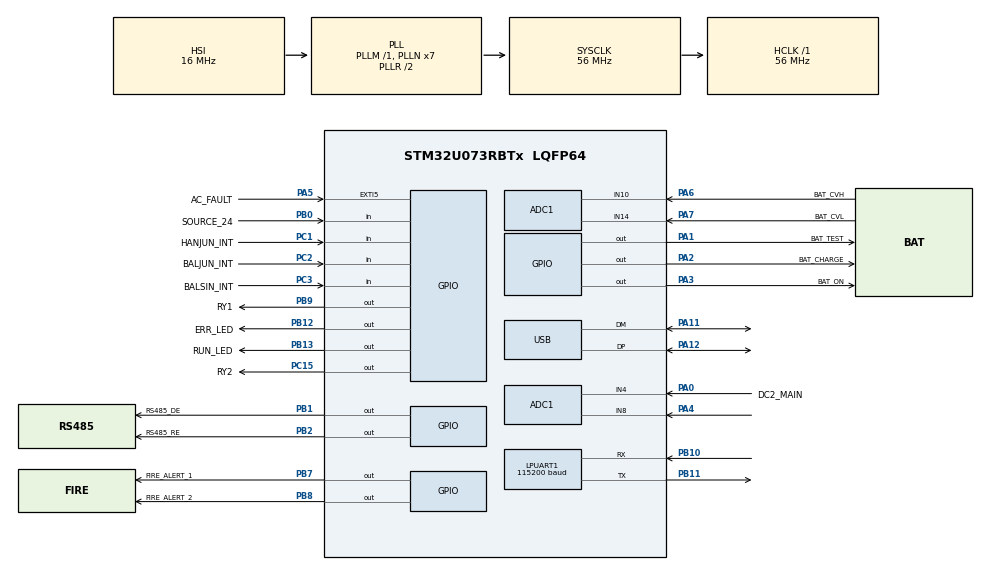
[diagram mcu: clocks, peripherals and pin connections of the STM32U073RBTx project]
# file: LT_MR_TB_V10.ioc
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ADC1.Channel-0\#ChannelRegularConversion=ADC_CHANNEL_4
ADC1.ClockPrescaler=ADC_CLOCK_SYNC_PCLK_DIV4
ADC1.NbrOfConversionFlag=1
ADC1.Rank-0\#ChannelRegularConversion=1
ADC1.RankArg-0\#ChannelRegularConversion=ADC_REGULAR_RANK_1
ADC1.SamplingTime-0\#ChannelRegularConversion=ADC_SAMPLINGTIME_COMMON_1
ADC1.SamplingTimeCommon1=ADC_SAMPLETIME_12CYCLES_5
ADC1.SamplingTimeCommon2=ADC_SAMPLETIME_12CYCLES_5
ADC1.SelectedChannel=ADC_CHANNEL_4|ADC_CHANNEL_8|ADC_CHANNEL_10|ADC_CHANNEL_14
ADC1.master=1
Dma.LPUART1_TX.0.Direction=DMA_MEMORY_TO_PERIPH
Dma.LPUART1_TX.0.EventEnable=DISABLE
Dma.LPUART1_TX.0.Instance=DMA1_Channel2
Dma.LPUART1_TX.0.MemDataAlignment=DMA_MDATAALIGN_BYTE
Dma.LPUART1_TX.0.MemInc=DMA_MINC_ENABLE
Dma.LPUART1_TX.0.Mode=DMA_NORMAL
Dma.LPUART1_TX.0.PeriphDataAlignment=DMA_PDATAALIGN_BYTE
Dma.LPUART1_TX.0.PeriphInc=DMA_PINC_DISABLE
Dma.LPUART1_TX.0.Polarity=HAL_DMAMUX_REQ_GEN_RISING
Dma.LPUART1_TX.0.Priority=DMA_PRIORITY_LOW
Dma.LPUART1_TX.0.RequestNumber=1
Dma.LPUART1_TX.0.SignalID=NONE
Dma.LPUART1_TX.0.SyncEnable=DISABLE
Dma.LPUART1_TX.0.SyncPolarity=HAL_DMAMUX_SYNC_NO_EVENT
Dma.LPUART1_TX.0.SyncRequestNumber=1
Dma.LPUART1_TX.0.SyncSignalID=NONE
Dma.Request0=LPUART1_TX
IWDG.Prescaler=IWDG_PRESCALER_16
LPUART1.BaudRate=115200
Mcu.Family=STM32U0
Mcu.Name=STM32U073RBTx
Mcu.Package=LQFP64
NVIC.DMA1_Channel2_3_IRQn=true\:0\:0\:false\:false\:true\:false\:true\:true
NVIC.EXTI4_15_IRQn=true\:0\:0\:false\:false\:true\:true\:true\:true
NVIC.PriorityGroup=NVIC_PRIORITYGROUP_2
NVIC.TIM1_CC_IRQn=true\:0\:0\:false\:false\:true\:true\:true\:true
NVIC.TIM2_IRQn=true\:0\:0\:false\:false\:true\:true\:true\:true
NVIC.TIM3_IRQn=true\:0\:0\:false\:false\:true\:true\:true\:true
NVIC.USART3_LPUART1_IRQn=true\:0\:0\:false\:false\:true\:true\:true\:true
PA0.GPIO_Label=DC2_MAIN
PA0.Mode=IN4
PA0.Signal=ADC1_IN4
PA1.GPIO_Label=BAT_TEST
PA1.Signal=GPIO_Output
PA11\ [PA9].Mode=Device
PA11\ [PA9].Signal=USB_DM
PA12\ [PA10].Mode=Device
PA12\ [PA10].Signal=USB_DP
PA13\ (SWDIO).Mode=Serial_Wire
PA13\ (SWDIO).Signal=DEBUG_JTMS-SWDIO
PA14\ (SWCLK).Mode=Serial_Wire
PA14\ (SWCLK).Signal=DEBUG_JTCK-SWCLK
PA2.GPIO_Label=BAT_CHARGE
PA2.Signal=GPIO_Output
PA3.GPIO_Label=BAT_ON
PA3.GPIO_PuPd=GPIO_PULLDOWN
PA3.Signal=GPIO_Output
PA4.Mode=IN8
PA4.Signal=ADC1_IN8
PA5.GPIO_Label=AC_FAULT
PA5.GPIO_PuPd=GPIO_PULLUP
PA5.Signal=GPXTI5
PA6.GPIO_Label=BAT_CVH
PA6.Mode=IN10
PA6.Signal=ADC1_IN10
PA7.GPIO_Label=BAT_CVL
PA7.Mode=IN14
PA7.Signal=ADC1_IN14
PB0.GPIO_Label=SOURCE_24
PB0.GPIO_PuPd=GPIO_PULLDOWN
PB0.Signal=GPIO_Input
PB1.GPIO_Label=RS485_DE
PB1.Signal=GPIO_Output
PB10.Mode=Asynchronous
PB10.Signal=LPUART1_RX
PB11.Mode=Asynchronous
PB11.Signal=LPUART1_TX
PB12.GPIO_Label=ERR_LED
PB12.Signal=GPIO_Output
PB13.GPIO_Label=RUN_LED
PB13.Signal=GPIO_Output
PB2.GPIO_Label=RS485_RE
PB2.Signal=GPIO_Output
PB3.Signal=DEBUG_JTDO-SWO
PB7.GPIO_Label=FIRE_ALERT_1
PB7.Signal=GPIO_Output
PB8.GPIO_Label=FIRE_ALERT_2
PB8.Signal=GPIO_Output
PB9.GPIO_Label=RY1
PB9.Signal=GPIO_Output
PC1.GPIO_Label=HANJUN_INT
PC1.Signal=GPIO_Input
PC15-OSC32_OUT.GPIO_Label=RY2
PC15-OSC32_OUT.Signal=GPIO_Output
PC2.GPIO_Label=BALJUN_INT
PC2.Signal=GPIO_Input
PC3.GPIO_Label=BALSIN_INT
PC3.Signal=GPIO_Input
ProjectManager.HeapSize=0x200
ProjectManager.StackSize=0x400
ProjectManager.TargetToolchain=STM32CubeIDE
RCC.ADCFreq_Value=56000000
RCC.AHBFreq_Value=56000000
RCC.CortexFreq_Value=56000000
RCC.HCLKFreq_Value=56000000
RCC.HSE_VALUE=4000000
RCC.HSI48_VALUE=48000000
RCC.HSI_VALUE=16000000
RCC.LSE_VALUE=32768
RCC.MSI_VALUE=4000000
RCC.PLLN=7
RCC.SYSCLKFreq_VALUE=56000000
RCC.SYSCLKSource=RCC_SYSCLKSOURCE_PLLCLK
RCC.USBCLockSelection=RCC_USBCLKSOURCE_HSI48
RCC.USBFreq_Value=48000000
RCC.VCOOutputFreq_Value=112000000
TIM1.Channel-Output\ Compare1\ No\ Output=TIM_CHANNEL_1
TIM1.Period=9999
TIM1.Prescaler=5599
TIM2.Channel-Output\ Compare1\ No\ Output=TIM_CHANNEL_1
TIM2.Period=999
TIM2.Prescaler=5599
TIM3.Channel-Output\ Compare1\ No\ Output=TIM_CHANNEL_1
TIM3.Period=9999
TIM3.Prescaler=5599
USB.VirtualMode=Device_Only
VP_IWDG_VS_IWDG.Mode=IWDG_Activate
VP_PWR_VS_SECSignals.Mode=Security/Privilege
VP_TIM1_VS_ClockSourceINT.Mode=Internal
VP_TIM1_VS_no_output1.Mode=Output Compare1 No Output
VP_TIM2_VS_ClockSourceINT.Mode=Internal
VP_TIM2_VS_no_output1.Mode=Output Compare1 No Output
VP_TIM3_VS_ClockSourceINT.Mode=Internal
VP_TIM3_VS_no_output1.Mode=Output Compare1 No Output
board=custom

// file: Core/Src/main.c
/* USER CODE BEGIN Header */
/**
  ******************************************************************************
  * @file           : main.c
  * @brief          : Main program body
  ******************************************************************************
  * @attention
  *
  * Copyright (c) 2025 STMicroelectronics.
  * All rights reserved.
  *
  * This software is licensed under terms that can be found in the LICENSE file
  * in the root directory of this software component.
  * If no LICENSE file comes with this software, it is provided AS-IS.
  *
  ******************************************************************************
  */
/* USER CODE END Header */
#include "main.h"

/* USER CODE BEGIN Includes */

#include "DO24_Code.h"
#include "Compile_Data.h"
/* USER CODE END Includes */

ADC_HandleTypeDef hadc1;

IWDG_HandleTypeDef hiwdg;

UART_HandleTypeDef hlpuart1;
DMA_HandleTypeDef hdma_lpuart1_tx;

TIM_HandleTypeDef htim1;
TIM_HandleTypeDef htim2;
TIM_HandleTypeDef htim3;

PCD_HandleTypeDef hpcd_USB_DRD_FS;

/* USER CODE BEGIN PV */

uint8_t SUB_UART_TX_buf[SUB_UART_buf_len] ;
uint8_t SUB_UART_RX_buf[SUB_UART_buf_len];
uint8_t SUB_UART_Tx_buf_tmp[SUB_UART_buf_len];
uint8_t SUB_UART_RX_buf_tmp[SUB_UART_buf_len];
uint8_t SUB_UART_State ;					// Define reception start state
int SUB_UART_buf_count;					// Save the length of received data after starting reception
int SUB_UART_buf_count_tmp;				// Variable to store the length of the received data before initializing it when reception is completed
uint8_t SUB_UART_Receive_complete;		// Variable indicating that reception has been completed
int SUB_UART_buf_count_Save;

uint32_t AC_FAULT_CNT ;
float MAIN_ADC, SOURCE_24_ADC, BAT_CVH_ADC, BAT_CVL_ADC;

int Bat_Charge_Mode;
int Bat_Charge_Compensation_Volt;
int Immobility_Chargr_Table[2]; //1:On 0: Off
int Compensation_Chargr_Table[5][2]; //1:On 0: Off
int BAT_ADC , Bat_Currunt, Bat_Charge_Currunt, Bat_Charge_Val, Charge_Stat = 0,Charge_Cnt;
int Pow_Mode , BAT_State, Pre_Pow_Mode, Test_status;
int Source_24;
uint8_t Bat_Test_Status;

int Balsin_signal;
int HANJUN_sig;
int BALJUN_sig;

int Balsin_Avr;
int HANJUN_Avr;
int BALJUN_Avr;

int Balsin_Save[Save_Max_Num];
int HANJUN_Save[Save_Max_Num];
int BALJUN_Save[Save_Max_Num];

/* USER CODE END PV */

void SystemClock_Config(void);
static void MX_GPIO_Init(void);
static void MX_DMA_Init(void);
static void MX_ADC1_Init(void);
static void MX_TIM2_Init(void);
static void MX_TIM3_Init(void);
static void MX_LPUART1_UART_Init(void);
static void MX_USB_PCD_Init(void);
static void MX_TIM1_Init(void);
static void MX_IWDG_Init(void);

/* USER CODE BEGIN 0 */

///////////////Start timer interrupt operation function///////////////////

void HAL_TIM_OC_DelayElapsedCallback(TIM_HandleTypeDef *htim)
{
  if(htim->Instance == TIM1)
  {
    HAL_GPIO_TogglePin(RUN_LED_GPIO_Port, RUN_LED_Pin);
    //HAL_GPIO_TogglePin(BAT_ON_GPIO_Port, BAT_ON_Pin);
    HAL_IWDG_Refresh(&hiwdg);

  }
  else if(htim->Instance == TIM2)
    {
	  //Source_24 = SMPS_AC_Source();
	  //Read_24_ADC();
	  if(SOURCE_24_ADC > 200000){
		  Source_24 = 1;
	  }
	  else{
		  Source_24 = 0;
	  }
	  if(Source_24 == 1){
		  Pow_Mode = AC_Mode;
		  HAL_GPIO_WritePin(BAT_ON_GPIO_Port, BAT_ON_Pin, GPIO_PIN_RESET);
	  }
	  else{
		  Pow_Mode = BAT_Mode;
		  HAL_GPIO_WritePin(BAT_ON_GPIO_Port, BAT_ON_Pin, GPIO_PIN_SET);
	  }

    }
  else if(htim->Instance == TIM3)
  {

  }

}
////////////////Timer interrupt operation function ends ///////////////////

/* USER CODE END 0 */

int main(void)
{

  /* MCU Configuration--------------------------------------------------------*/

  /* Reset of all peripherals, Initializes the Flash interface and the Systick. */
  HAL_Init();

  /* Configure the system clock */
  SystemClock_Config();

  /* Initialize all configured peripherals */
  MX_GPIO_Init();
  MX_DMA_Init();
  MX_ADC1_Init();
  MX_TIM2_Init();
  MX_TIM3_Init();
  MX_LPUART1_UART_Init();
  MX_USB_PCD_Init();
  MX_TIM1_Init();
  MX_IWDG_Init();
  /* USER CODE BEGIN 2 */

  // Timer1: 1 second cycle
  // Timer2: 0.1 second cycle
  // Timer3: 1 second cycle
  HAL_TIM_OC_Start_IT(&htim1,TIM_CHANNEL_1);
  HAL_TIM_OC_Start_IT(&htim2,TIM_CHANNEL_1);
  HAL_TIM_OC_Start_IT(&htim3,TIM_CHANNEL_1);

  LED_Control(ERR_LED_GPIO_Port, ERR_LED_Pin , LED_Off);

  Compile_Date();

  Pow_Mode = AC_Mode;
  BAT_State = BAT_OK;

  Immobility_Chargr_Table[0] = 6; //1:On 0: Off
  Immobility_Chargr_Table[1] = Immobility_Chargr_Table[0] + 38; //1:On 0: Off

  //25.5V
  Compensation_Chargr_Table[0][0] =  6; //1:On 0: Off
  Compensation_Chargr_Table[0][1] = 26. + Compensation_Chargr_Table[0][0]; //1:On 0: Off
  //26V
  Compensation_Chargr_Table[1][0] =  6; //1:On 0: Off
  Compensation_Chargr_Table[1][1] = 38 + Compensation_Chargr_Table[1][0]; //1:On 0: Off
  //26.5V
  Compensation_Chargr_Table[2][0] =  6; //1:On 0: Off
  Compensation_Chargr_Table[2][1] = 56 + Compensation_Chargr_Table[2][0]; //1:On 0: Off
  //27V
  Compensation_Chargr_Table[3][0] =  6; //1:On 0: Off
  Compensation_Chargr_Table[3][1] = 83 + Compensation_Chargr_Table[3][0]; //1:On 0: Off
  //27.5V
  Compensation_Chargr_Table[4][0] =  6; //1:On 0: Off
  Compensation_Chargr_Table[4][1]= 100 + Compensation_Chargr_Table[4][0] ; //1:On 0: Off

  Bat_Charge_Mode = Immobility_Mode;
  Bat_Test_Status = 0;

  Init_Do24();
  Compile_Date();

  /* huart1 RX Interrupt  Enable */
  /* Process Unlocked */
  __HAL_UNLOCK(&hlpuart1);
  /* Enable the UART Parity Error Interrupt */
  __HAL_UART_ENABLE_IT(&hlpuart1, UART_IT_PE);
  /* Enable the UART Error Interrupt: (Frame error, noise error, overrun error) */
  __HAL_UART_ENABLE_IT(&hlpuart1, UART_IT_ERR);
  /* Enable the UART Data Register not empty Interrupt */
  __HAL_UART_ENABLE_IT(&hlpuart1, UART_IT_RXNE);

  /* USER CODE END 2 */

  /* Infinite loop */
  while (1)
  {

    /* USER CODE BEGIN 3 */

	  /* Enable the UART Error Interrupt: (Frame error, noise error, overrun error) */
	  __HAL_UART_ENABLE_IT(&hlpuart1, UART_IT_ERR);
	  /* Enable the UART Data Register not empty Interrupt */
	  __HAL_UART_ENABLE_IT(&hlpuart1, UART_IT_RXNE);

	  Pre_Pow_Mode = Pow_Mode;

	  /*
	  if(Pow_Mode == AC_Mode){
		  HAL_GPIO_WritePin(BAT_ON_GPIO_Port, BAT_ON_Pin, GPIO_PIN_RESET);
	  }
	  else{
		  HAL_GPIO_WritePin(BAT_ON_GPIO_Port, BAT_ON_Pin, GPIO_PIN_SET);
	  }
*/
	  SUB_Check(1);
	  Read_ADC();
	  SUB_Check(1);

	  Bat_Controll();

	  SUB_Check(1);
  }
  /* USER CODE END 3 */
}

void SystemClock_Config(void)
{
  RCC_OscInitTypeDef RCC_OscInitStruct = {0};
  RCC_ClkInitTypeDef RCC_ClkInitStruct = {0};

  /** Configure the main internal regulator output voltage
  */
  HAL_PWREx_ControlVoltageScaling(PWR_REGULATOR_VOLTAGE_SCALE1);

  /** Initializes the RCC Oscillators according to the specified parameters
  * in the RCC_OscInitTypeDef structure.
  */
  RCC_OscInitStruct.OscillatorType = RCC_OSCILLATORTYPE_HSI|RCC_OSCILLATORTYPE_HSI48;
  RCC_OscInitStruct.HSIState = RCC_HSI_ON;
  RCC_OscInitStruct.HSICalibrationValue = RCC_HSICALIBRATION_DEFAULT;
  RCC_OscInitStruct.HSI48State = RCC_HSI48_ON;
  RCC_OscInitStruct.PLL.PLLState = RCC_PLL_ON;
  RCC_OscInitStruct.PLL.PLLSource = RCC_PLLSOURCE_HSI;
  RCC_OscInitStruct.PLL.PLLM = RCC_PLLM_DIV1;
  RCC_OscInitStruct.PLL.PLLN = 7;
  RCC_OscInitStruct.PLL.PLLP = RCC_PLLP_DIV2;
  RCC_OscInitStruct.PLL.PLLQ = RCC_PLLQ_DIV2;
  RCC_OscInitStruct.PLL.PLLR = RCC_PLLR_DIV2;
  if (HAL_RCC_OscConfig(&RCC_OscInitStruct) != HAL_OK)
  {
    Error_Handler();
  }

  /** Initializes the CPU, AHB and APB buses clocks
  */
  RCC_ClkInitStruct.ClockType = RCC_CLOCKTYPE_HCLK|RCC_CLOCKTYPE_SYSCLK
                              |RCC_CLOCKTYPE_PCLK1;
  RCC_ClkInitStruct.SYSCLKSource = RCC_SYSCLKSOURCE_PLLCLK;
  RCC_ClkInitStruct.AHBCLKDivider = RCC_SYSCLK_DIV1;
  RCC_ClkInitStruct.APB1CLKDivider = RCC_HCLK_DIV1;

  if (HAL_RCC_ClockConfig(&RCC_ClkInitStruct, FLASH_LATENCY_2) != HAL_OK)
  {
    Error_Handler();
  }
}

static void MX_ADC1_Init(void)
{

  ADC_ChannelConfTypeDef sConfig = {0};

  /** Configure the global features of the ADC (Clock, Resolution, Data Alignment and number of conversion)
  */
  hadc1.Instance = ADC1;
  hadc1.Init.ClockPrescaler = ADC_CLOCK_SYNC_PCLK_DIV4;
  hadc1.Init.Resolution = ADC_RESOLUTION_12B;
  hadc1.Init.DataAlign = ADC_DATAALIGN_RIGHT;
  hadc1.Init.ScanConvMode = ADC_SCAN_DISABLE;
  hadc1.Init.EOCSelection = ADC_EOC_SINGLE_CONV;
  hadc1.Init.LowPowerAutoWait = DISABLE;
  hadc1.Init.LowPowerAutoPowerOff = DISABLE;
  hadc1.Init.ContinuousConvMode = DISABLE;
  hadc1.Init.NbrOfConversion = 1;
  hadc1.Init.DiscontinuousConvMode = DISABLE;
  hadc1.Init.ExternalTrigConv = ADC_SOFTWARE_START;
  hadc1.Init.ExternalTrigConvEdge = ADC_EXTERNALTRIGCONVEDGE_NONE;
  hadc1.Init.DMAContinuousRequests = DISABLE;
  hadc1.Init.Overrun = ADC_OVR_DATA_PRESERVED;
  hadc1.Init.SamplingTimeCommon1 = ADC_SAMPLETIME_12CYCLES_5;
  hadc1.Init.SamplingTimeCommon2 = ADC_SAMPLETIME_12CYCLES_5;
  hadc1.Init.OversamplingMode = DISABLE;
  hadc1.Init.TriggerFrequencyMode = ADC_TRIGGER_FREQ_HIGH;
  if (HAL_ADC_Init(&hadc1) != HAL_OK)
  {
    Error_Handler();
  }

  /** Configure Regular Channel
  */
  sConfig.Channel = ADC_CHANNEL_4;
  sConfig.Rank = ADC_REGULAR_RANK_1;
  sConfig.SamplingTime = ADC_SAMPLINGTIME_COMMON_1;
  if (HAL_ADC_ConfigChannel(&hadc1, &sConfig) != HAL_OK)
  {
    Error_Handler();
  }

}

static void MX_IWDG_Init(void)
{

  hiwdg.Instance = IWDG;
  hiwdg.Init.Prescaler = IWDG_PRESCALER_16;
  hiwdg.Init.Window = 4095;
  hiwdg.Init.Reload = 4095;
  hiwdg.Init.EWI = 0;
  if (HAL_IWDG_Init(&hiwdg) != HAL_OK)
  {
    Error_Handler();
  }

}

static void MX_LPUART1_UART_Init(void)
{

  hlpuart1.Instance = LPUART1;
  hlpuart1.Init.BaudRate = 115200;
  hlpuart1.Init.WordLength = UART_WORDLENGTH_8B;
  hlpuart1.Init.StopBits = UART_STOPBITS_1;
  hlpuart1.Init.Parity = UART_PARITY_NONE;
  hlpuart1.Init.Mode = UART_MODE_TX_RX;
  hlpuart1.Init.HwFlowCtl = UART_HWCONTROL_NONE;
  hlpuart1.Init.OneBitSampling = UART_ONE_BIT_SAMPLE_DISABLE;
  hlpuart1.AdvancedInit.AdvFeatureInit = UART_ADVFEATURE_NO_INIT;
  hlpuart1.FifoMode = UART_FIFOMODE_DISABLE;
  if (HAL_UART_Init(&hlpuart1) != HAL_OK)
  {
    Error_Handler();
  }
  if (HAL_UARTEx_SetTxFifoThreshold(&hlpuart1, UART_TXFIFO_THRESHOLD_1_8) != HAL_OK)
  {
    Error_Handler();
  }
  if (HAL_UARTEx_SetRxFifoThreshold(&hlpuart1, UART_RXFIFO_THRESHOLD_1_8) != HAL_OK)
  {
    Error_Handler();
  }
  if (HAL_UARTEx_DisableFifoMode(&hlpuart1) != HAL_OK)
  {
    Error_Handler();
  }

}

static void MX_TIM1_Init(void)
{

  TIM_ClockConfigTypeDef sClockSourceConfig = {0};
  TIM_MasterConfigTypeDef sMasterConfig = {0};
  TIM_OC_InitTypeDef sConfigOC = {0};
  TIM_BreakDeadTimeConfigTypeDef sBreakDeadTimeConfig = {0};

  htim1.Instance = TIM1;
  htim1.Init.Prescaler = 5599;
  htim1.Init.CounterMode = TIM_COUNTERMODE_UP;
  htim1.Init.Period = 9999;
  htim1.Init.ClockDivision = TIM_CLOCKDIVISION_DIV1;
  htim1.Init.RepetitionCounter = 0;
  htim1.Init.AutoReloadPreload = TIM_AUTORELOAD_PRELOAD_DISABLE;
  if (HAL_TIM_Base_Init(&htim1) != HAL_OK)
  {
    Error_Handler();
  }
  sClockSourceConfig.ClockSource = TIM_CLOCKSOURCE_INTERNAL;
  if (HAL_TIM_ConfigClockSource(&htim1, &sClockSourceConfig) != HAL_OK)
  {
    Error_Handler();
  }
  if (HAL_TIM_OC_Init(&htim1) != HAL_OK)
  {
    Error_Handler();
  }
  sMasterConfig.MasterOutputTrigger = TIM_TRGO_RESET;
  sMasterConfig.MasterOutputTrigger2 = TIM_TRGO2_RESET;
  sMasterConfig.MasterSlaveMode = TIM_MASTERSLAVEMODE_DISABLE;
  if (HAL_TIMEx_MasterConfigSynchronization(&htim1, &sMasterConfig) != HAL_OK)
  {
    Error_Handler();
  }
  sConfigOC.OCMode = TIM_OCMODE_TIMING;
  sConfigOC.Pulse = 0;
  sConfigOC.OCPolarity = TIM_OCPOLARITY_HIGH;
  sConfigOC.OCNPolarity = TIM_OCNPOLARITY_HIGH;
  sConfigOC.OCFastMode = TIM_OCFAST_DISABLE;
  sConfigOC.OCIdleState = TIM_OCIDLESTATE_RESET;
  sConfigOC.OCNIdleState = TIM_OCNIDLESTATE_RESET;
  if (HAL_TIM_OC_ConfigChannel(&htim1, &sConfigOC, TIM_CHANNEL_1) != HAL_OK)
  {
    Error_Handler();
  }
  sBreakDeadTimeConfig.OffStateRunMode = TIM_OSSR_DISABLE;
  sBreakDeadTimeConfig.OffStateIDLEMode = TIM_OSSI_DISABLE;
  sBreakDeadTimeConfig.LockLevel = TIM_LOCKLEVEL_OFF;
  sBreakDeadTimeConfig.DeadTime = 0;
  sBreakDeadTimeConfig.BreakState = TIM_BREAK_DISABLE;
  sBreakDeadTimeConfig.BreakPolarity = TIM_BREAKPOLARITY_HIGH;
  sBreakDeadTimeConfig.BreakFilter = 0;
  sBreakDeadTimeConfig.BreakAFMode = TIM_BREAK_AFMODE_INPUT;
  sBreakDeadTimeConfig.Break2State = TIM_BREAK2_DISABLE;
  sBreakDeadTimeConfig.Break2Polarity = TIM_BREAK2POLARITY_HIGH;
  sBreakDeadTimeConfig.Break2Filter = 0;
  sBreakDeadTimeConfig.Break2AFMode = TIM_BREAK_AFMODE_INPUT;
  sBreakDeadTimeConfig.AutomaticOutput = TIM_AUTOMATICOUTPUT_DISABLE;
  if (HAL_TIMEx_ConfigBreakDeadTime(&htim1, &sBreakDeadTimeConfig) != HAL_OK)
  {
    Error_Handler();
  }

}

static void MX_TIM2_Init(void)
{

  TIM_ClockConfigTypeDef sClockSourceConfig = {0};
  TIM_MasterConfigTypeDef sMasterConfig = {0};
  TIM_OC_InitTypeDef sConfigOC = {0};

  htim2.Instance = TIM2;
  htim2.Init.Prescaler = 5599;
  htim2.Init.CounterMode = TIM_COUNTERMODE_UP;
  htim2.Init.Period = 999;
  htim2.Init.ClockDivision = TIM_CLOCKDIVISION_DIV1;
  htim2.Init.AutoReloadPreload = TIM_AUTORELOAD_PRELOAD_DISABLE;
  if (HAL_TIM_Base_Init(&htim2) != HAL_OK)
  {
    Error_Handler();
  }
  sClockSourceConfig.ClockSource = TIM_CLOCKSOURCE_INTERNAL;
  if (HAL_TIM_ConfigClockSource(&htim2, &sClockSourceConfig) != HAL_OK)
  {
    Error_Handler();
  }
  if (HAL_TIM_OC_Init(&htim2) != HAL_OK)
  {
    Error_Handler();
  }
  sMasterConfig.MasterOutputTrigger = TIM_TRGO_RESET;
  sMasterConfig.MasterSlaveMode = TIM_MASTERSLAVEMODE_DISABLE;
  if (HAL_TIMEx_MasterConfigSynchronization(&htim2, &sMasterConfig) != HAL_OK)
  {
    Error_Handler();
  }
  sConfigOC.OCMode = TIM_OCMODE_TIMING;
  sConfigOC.Pulse = 0;
  sConfigOC.OCPolarity = TIM_OCPOLARITY_HIGH;
  sConfigOC.OCFastMode = TIM_OCFAST_DISABLE;
  if (HAL_TIM_OC_ConfigChannel(&htim2, &sConfigOC, TIM_CHANNEL_1) != HAL_OK)
  {
    Error_Handler();
  }

}

static void MX_TIM3_Init(void)
{

  TIM_ClockConfigTypeDef sClockSourceConfig = {0};
  TIM_MasterConfigTypeDef sMasterConfig = {0};
  TIM_OC_InitTypeDef sConfigOC = {0};

  htim3.Instance = TIM3;
  htim3.Init.Prescaler = 5599;
  htim3.Init.CounterMode = TIM_COUNTERMODE_UP;
  htim3.Init.Period = 9999;
  htim3.Init.ClockDivision = TIM_CLOCKDIVISION_DIV1;
  htim3.Init.AutoReloadPreload = TIM_AUTORELOAD_PRELOAD_DISABLE;
  if (HAL_TIM_Base_Init(&htim3) != HAL_OK)
  {
    Error_Handler();
  }
  sClockSourceConfig.ClockSource = TIM_CLOCKSOURCE_INTERNAL;
  if (HAL_TIM_ConfigClockSource(&htim3, &sClockSourceConfig) != HAL_OK)
  {
    Error_Handler();
  }
  if (HAL_TIM_OC_Init(&htim3) != HAL_OK)
  {
    Error_Handler();
  }
  sMasterConfig.MasterOutputTrigger = TIM_TRGO_RESET;
  sMasterConfig.MasterSlaveMode = TIM_MASTERSLAVEMODE_DISABLE;
  if (HAL_TIMEx_MasterConfigSynchronization(&htim3, &sMasterConfig) != HAL_OK)
  {
    Error_Handler();
  }
  sConfigOC.OCMode = TIM_OCMODE_TIMING;
  sConfigOC.Pulse = 0;
  sConfigOC.OCPolarity = TIM_OCPOLARITY_HIGH;
  sConfigOC.OCFastMode = TIM_OCFAST_DISABLE;
  if (HAL_TIM_OC_ConfigChannel(&htim3, &sConfigOC, TIM_CHANNEL_1) != HAL_OK)
  {
    Error_Handler();
  }

}

static void MX_USB_PCD_Init(void)
{

  hpcd_USB_DRD_FS.Instance = USB_DRD_FS;
  hpcd_USB_DRD_FS.Init.dev_endpoints = 8;
  hpcd_USB_DRD_FS.Init.speed = USBD_FS_SPEED;
  hpcd_USB_DRD_FS.Init.phy_itface = PCD_PHY_EMBEDDED;
  hpcd_USB_DRD_FS.Init.Sof_enable = DISABLE;
  hpcd_USB_DRD_FS.Init.low_power_enable = DISABLE;
  hpcd_USB_DRD_FS.Init.lpm_enable = DISABLE;
  hpcd_USB_DRD_FS.Init.battery_charging_enable = DISABLE;
  if (HAL_PCD_Init(&hpcd_USB_DRD_FS) != HAL_OK)
  {
    Error_Handler();
  }

}

static void MX_DMA_Init(void)
{

  /* DMA controller clock enable */
  __HAL_RCC_DMA1_CLK_ENABLE();

  /* DMA interrupt init */
  /* DMA1_Channel2_3_IRQn interrupt configuration */
  HAL_NVIC_SetPriority(DMA1_Channel2_3_IRQn, 0, 0);
  HAL_NVIC_EnableIRQ(DMA1_Channel2_3_IRQn);

}

static void MX_GPIO_Init(void)
{
  GPIO_InitTypeDef GPIO_InitStruct = {0};

  /* GPIO Ports Clock Enable */
  __HAL_RCC_GPIOC_CLK_ENABLE();
  __HAL_RCC_GPIOA_CLK_ENABLE();
  __HAL_RCC_GPIOB_CLK_ENABLE();

  /*Configure GPIO pin Output Level */
  HAL_GPIO_WritePin(RY2_GPIO_Port, RY2_Pin, GPIO_PIN_RESET);

  /*Configure GPIO pin Output Level */
  HAL_GPIO_WritePin(GPIOA, BAT_TEST_Pin|BAT_CHARGE_Pin|BAT_ON_Pin, GPIO_PIN_RESET);

  /*Configure GPIO pin Output Level */
  HAL_GPIO_WritePin(GPIOB, RS485_DE_Pin|RS485_RE_Pin|ERR_LED_Pin|RUN_LED_Pin
                          |FIRE_ALERT_1_Pin|FIRE_ALERT_2_Pin|RY1_Pin, GPIO_PIN_RESET);

  /*Configure GPIO pin : RY2_Pin */
  GPIO_InitStruct.Pin = RY2_Pin;
  GPIO_InitStruct.Mode = GPIO_MODE_OUTPUT_PP;
  GPIO_InitStruct.Pull = GPIO_NOPULL;
  GPIO_InitStruct.Speed = GPIO_SPEED_FREQ_LOW;
  HAL_GPIO_Init(RY2_GPIO_Port, &GPIO_InitStruct);

  /*Configure GPIO pins : HANJUN_INT_Pin BALJUN_INT_Pin BALSIN_INT_Pin */
  GPIO_InitStruct.Pin = HANJUN_INT_Pin|BALJUN_INT_Pin|BALSIN_INT_Pin;
  GPIO_InitStruct.Mode = GPIO_MODE_INPUT;
  GPIO_InitStruct.Pull = GPIO_NOPULL;
  HAL_GPIO_Init(GPIOC, &GPIO_InitStruct);

  /*Configure GPIO pins : BAT_TEST_Pin BAT_CHARGE_Pin */
  GPIO_InitStruct.Pin = BAT_TEST_Pin|BAT_CHARGE_Pin;
  GPIO_InitStruct.Mode = GPIO_MODE_OUTPUT_PP;
  GPIO_InitStruct.Pull = GPIO_NOPULL;
  GPIO_InitStruct.Speed = GPIO_SPEED_FREQ_LOW;
  HAL_GPIO_Init(GPIOA, &GPIO_InitStruct);

  /*Configure GPIO pin : BAT_ON_Pin */
  GPIO_InitStruct.Pin = BAT_ON_Pin;
  GPIO_InitStruct.Mode = GPIO_MODE_OUTPUT_PP;
  GPIO_InitStruct.Pull = GPIO_PULLDOWN;
  GPIO_InitStruct.Speed = GPIO_SPEED_FREQ_LOW;
  HAL_GPIO_Init(BAT_ON_GPIO_Port, &GPIO_InitStruct);

  /*Configure GPIO pin : AC_FAULT_Pin */
  GPIO_InitStruct.Pin = AC_FAULT_Pin;
  GPIO_InitStruct.Mode = GPIO_MODE_IT_RISING;
  GPIO_InitStruct.Pull = GPIO_PULLUP;
  HAL_GPIO_Init(AC_FAULT_GPIO_Port, &GPIO_InitStruct);

  /*Configure GPIO pin : SOURCE_24_Pin */
  GPIO_InitStruct.Pin = SOURCE_24_Pin;
  GPIO_InitStruct.Mode = GPIO_MODE_INPUT;
  GPIO_InitStruct.Pull = GPIO_PULLDOWN;
  HAL_GPIO_Init(SOURCE_24_GPIO_Port, &GPIO_InitStruct);

  /*Configure GPIO pins : RS485_DE_Pin RS485_RE_Pin ERR_LED_Pin RUN_LED_Pin
                           FIRE_ALERT_1_Pin FIRE_ALERT_2_Pin RY1_Pin */
  GPIO_InitStruct.Pin = RS485_DE_Pin|RS485_RE_Pin|ERR_LED_Pin|RUN_LED_Pin
                          |FIRE_ALERT_1_Pin|FIRE_ALERT_2_Pin|RY1_Pin;
  GPIO_InitStruct.Mode = GPIO_MODE_OUTPUT_PP;
  GPIO_InitStruct.Pull = GPIO_NOPULL;
  GPIO_InitStruct.Speed = GPIO_SPEED_FREQ_LOW;
  HAL_GPIO_Init(GPIOB, &GPIO_InitStruct);

  /* EXTI interrupt init*/
  HAL_NVIC_SetPriority(EXTI4_15_IRQn, 0, 0);
  HAL_NVIC_EnableIRQ(EXTI4_15_IRQn);

}

/* USER CODE BEGIN 4 */

void LED_Control(GPIO_TypeDef *GPIOx, uint16_t GPIO_Pin , uint16_t Staus){

  if(Staus == LED_On){
    HAL_GPIO_WritePin(GPIOx, GPIO_Pin, GPIO_PIN_RESET);
  }
  else if(Staus == LED_Off){
    HAL_GPIO_WritePin(GPIOx, GPIO_Pin, GPIO_PIN_SET);
  }
}

void Read_24_ADC(void){

	ADC_ChannelConfTypeDef sConfig = {0};

	hadc1.Instance = ADC1;
	hadc1.Init.ClockPrescaler = ADC_CLOCK_SYNC_PCLK_DIV1;
	hadc1.Init.Resolution = ADC_RESOLUTION_12B;
	hadc1.Init.DataAlign = ADC_DATAALIGN_RIGHT;
	hadc1.Init.ScanConvMode = ADC_SCAN_DISABLE;
	hadc1.Init.EOCSelection = ADC_EOC_SINGLE_CONV;
	hadc1.Init.LowPowerAutoWait = DISABLE;
	hadc1.Init.LowPowerAutoPowerOff = DISABLE;
	hadc1.Init.ContinuousConvMode = DISABLE;
	hadc1.Init.NbrOfConversion = 1;
	hadc1.Init.DiscontinuousConvMode = DISABLE;
	hadc1.Init.ExternalTrigConv = ADC_SOFTWARE_START;
	hadc1.Init.ExternalTrigConvEdge = ADC_EXTERNALTRIGCONVEDGE_NONE;
	hadc1.Init.DMAContinuousRequests = DISABLE;
	hadc1.Init.Overrun = ADC_OVR_DATA_PRESERVED;
	hadc1.Init.SamplingTimeCommon1 = ADC_SAMPLETIME_160CYCLES_5;
	hadc1.Init.SamplingTimeCommon2 = ADC_SAMPLETIME_160CYCLES_5;
	hadc1.Init.OversamplingMode = DISABLE;
	hadc1.Init.TriggerFrequencyMode = ADC_TRIGGER_FREQ_HIGH;
	if (HAL_ADC_Init(&hadc1) != HAL_OK)
	{
		Error_Handler();
	}

	// SOURCE_24_ADC;
	sConfig.Channel = ADC_CHANNEL_8;
	sConfig.Rank = ADC_REGULAR_RANK_1;
	sConfig.SamplingTime = ADC_SAMPLINGTIME_COMMON_1;
	if (HAL_ADC_ConfigChannel(&hadc1, &sConfig) != HAL_OK)
	{
	Error_Handler();
	}

	HAL_ADC_Start(&hadc1);
	HAL_ADC_PollForConversion(&hadc1, 1000);
	SOURCE_24_ADC= (HAL_ADC_GetValue(&hadc1) -120 )*(3.25/4096)*15*10000;

	HAL_ADC_Stop(&hadc1);
}
void Read_ADC(void){

	ADC_ChannelConfTypeDef sConfig = {0};

	hadc1.Instance = ADC1;
	hadc1.Init.ClockPrescaler = ADC_CLOCK_SYNC_PCLK_DIV1;
	hadc1.Init.Resolution = ADC_RESOLUTION_12B;
	hadc1.Init.DataAlign = ADC_DATAALIGN_RIGHT;
	hadc1.Init.ScanConvMode = ADC_SCAN_DISABLE;
	hadc1.Init.EOCSelection = ADC_EOC_SINGLE_CONV;
	hadc1.Init.LowPowerAutoWait = DISABLE;
	hadc1.Init.LowPowerAutoPowerOff = DISABLE;
	hadc1.Init.ContinuousConvMode = DISABLE;
	hadc1.Init.NbrOfConversion = 1;
	hadc1.Init.DiscontinuousConvMode = DISABLE;
	hadc1.Init.ExternalTrigConv = ADC_SOFTWARE_START;
	hadc1.Init.ExternalTrigConvEdge = ADC_EXTERNALTRIGCONVEDGE_NONE;
	hadc1.Init.DMAContinuousRequests = DISABLE;
	hadc1.Init.Overrun = ADC_OVR_DATA_PRESERVED;
	hadc1.Init.SamplingTimeCommon1 = ADC_SAMPLETIME_160CYCLES_5;
	hadc1.Init.SamplingTimeCommon2 = ADC_SAMPLETIME_160CYCLES_5;
	hadc1.Init.OversamplingMode = DISABLE;
	hadc1.Init.TriggerFrequencyMode = ADC_TRIGGER_FREQ_HIGH;
	if (HAL_ADC_Init(&hadc1) != HAL_OK)
	{
		Error_Handler();
	}

	// MAIN_ADC;
	sConfig.Channel = ADC_CHANNEL_4;
	sConfig.Rank = ADC_REGULAR_RANK_1;
	sConfig.SamplingTime = ADC_SAMPLINGTIME_COMMON_1;
	if (HAL_ADC_ConfigChannel(&hadc1, &sConfig) != HAL_OK)
	{
	Error_Handler();
	}

	HAL_ADC_Start(&hadc1);
	HAL_ADC_PollForConversion(&hadc1, 1000);
	MAIN_ADC= (HAL_ADC_GetValue(&hadc1) -120 )*(3.25/4096)*15*10000;

	HAL_ADC_Stop(&hadc1);

	// SOURCE_24_ADC;
	sConfig.Channel = ADC_CHANNEL_8;
	sConfig.Rank = ADC_REGULAR_RANK_1;
	sConfig.SamplingTime = ADC_SAMPLINGTIME_COMMON_1;
	if (HAL_ADC_ConfigChannel(&hadc1, &sConfig) != HAL_OK)
	{
	Error_Handler();
	}

	HAL_ADC_Start(&hadc1);
	HAL_ADC_PollForConversion(&hadc1, 1000);
	SOURCE_24_ADC= (HAL_ADC_GetValue(&hadc1) -120 )*(3.25/4096)*15*10000;

	HAL_ADC_Stop(&hadc1);

	  if(SOURCE_24_ADC > 200000){
		  Source_24 = 1;
	  }
	  else{
		  Source_24 = 0;
	  }
	  if(Source_24 == 1){
		  Pow_Mode = AC_Mode;
		  HAL_GPIO_WritePin(BAT_ON_GPIO_Port, BAT_ON_Pin, GPIO_PIN_RESET);
	  }
	  else{
		  Pow_Mode = BAT_Mode;
		  HAL_GPIO_WritePin(BAT_ON_GPIO_Port, BAT_ON_Pin, GPIO_PIN_SET);
	  }

	// BAT_CVH_ADC;
	sConfig.Channel = ADC_CHANNEL_10;
	sConfig.Rank = ADC_REGULAR_RANK_1;
	sConfig.SamplingTime = ADC_SAMPLINGTIME_COMMON_1;
	if (HAL_ADC_ConfigChannel(&hadc1, &sConfig) != HAL_OK)
	{
	Error_Handler();
	}

	HAL_ADC_Start(&hadc1);
	HAL_ADC_PollForConversion(&hadc1, 1000);
	BAT_CVH_ADC= (HAL_ADC_GetValue(&hadc1) -120 )*(3.25/4096)*15*10000;
	HAL_ADC_Stop(&hadc1);

	// BAT_CVL_ADC;
	sConfig.Channel = ADC_CHANNEL_14;
	sConfig.Rank = ADC_REGULAR_RANK_1;
	sConfig.SamplingTime = ADC_SAMPLINGTIME_COMMON_1;
	if (HAL_ADC_ConfigChannel(&hadc1, &sConfig) != HAL_OK)
	{
	Error_Handler();
	}

	HAL_ADC_Start(&hadc1);
	HAL_ADC_PollForConversion(&hadc1, 1000);
	BAT_CVL_ADC= (HAL_ADC_GetValue(&hadc1) -120 )*(3.25/4096)*15*10000;
	HAL_ADC_Stop(&hadc1);
}

void Battery_Test(void){

  int i = 0;

  Test_status = 0;

  if(Pow_Mode == AC_Mode){
    Charge_Stat = 2;
    HAL_GPIO_WritePin(BAT_CHARGE_GPIO_Port , BAT_CHARGE_Pin , GPIO_PIN_RESET);

    for(i=0;i<80;i++){

      HAL_GPIO_WritePin(BAT_TEST_GPIO_Port , BAT_TEST_Pin , GPIO_PIN_SET);
      /*
      HAL_Delay(100);

      if(SUB_UART_Receive_complete == 1){
        SW_Com();
      }
      */
      HAL_Delay(100);
      SUB_Check(1);

      Read_ADC();
      BAT_ADC = BAT_CVL_ADC;

      if(BAT_ADC < Err_Battery_val){
        HAL_GPIO_WritePin(BAT_TEST_GPIO_Port , BAT_TEST_Pin , GPIO_PIN_RESET);
        Test_status = 2;
        break;
      }
    }

    if(Test_status == 0){
    	Test_status = 1;
    }

    Charge_Stat = 0;
    HAL_GPIO_WritePin(BAT_TEST_GPIO_Port , BAT_TEST_Pin , GPIO_PIN_RESET);
  }
  else{
    Test_status = 1;
  }
}

int SMPS_AC_Source(void){

	int Read_val = 0;
	if(HAL_GPIO_ReadPin(SOURCE_24_GPIO_Port, SOURCE_24_Pin) == GPIO_PIN_RESET){
		Read_val = 0;
	}
	else{
		Read_val = 1;
	}

	return Read_val;
}
int Read_BALSIN(void){
  int Read_val = 0;
  if(HAL_GPIO_ReadPin(BALSIN_INT_GPIO_Port, BALSIN_INT_Pin) == GPIO_PIN_RESET){
    Read_val = 1;
  }
  else{
    Read_val = 0;
  }

  return Read_val;
}

int Read_HANJUN(void){
  int Read_val = 0;
  if(HAL_GPIO_ReadPin(HANJUN_INT_GPIO_Port, HANJUN_INT_Pin) == GPIO_PIN_RESET){
    Read_val = 1;
  }
  else{
    Read_val = 0;
  }

  return Read_val;
}

int Read_BALJUN(void){
  int Read_val = 0;
  if(HAL_GPIO_ReadPin(BALJUN_INT_GPIO_Port, BALJUN_INT_Pin) == GPIO_PIN_RESET){
    Read_val = 1;
  }
  else{
    Read_val = 0;
  }

  return Read_val;
}

void Bat_Controll(void){

    if(Pow_Mode == AC_Mode){

      //HAL_GPIO_WritePin(BAT_ON_GPIO_Port, BAT_ON_Pin, GPIO_PIN_RESET);
	  //HAL_Delay(50);
      SUB_Check(50);
      Read_ADC();
      SUB_Check(1);
      /*
      if(Bat_Test_Status == 1){
    	  Bat_Test_Status = 0;
    	  Battery_Test();
      }
      */
      SUB_Check(1);
      if((BAT_ADC >= Err_Battery_val)&(BAT_ADC < High_Battery_val )){
        Charge_Stat = 1;
        BAT_State = BAT_OK;
        if(Bat_Charge_Mode == Immobility_Mode){

        	if(BAT_ADC > 280000){
        		Bat_Charge_Mode = Compensation_Mode;
        	}
        }
        else if(Bat_Charge_Mode == Compensation_Mode){
        	if((BAT_ADC >= 255000)&(BAT_ADC < 260000 )){
        		Bat_Charge_Compensation_Volt = Charge_255_Mode;
        	}
        	else if((BAT_ADC >= 260000)&(BAT_ADC < 265000 )){
        		Bat_Charge_Compensation_Volt = Charge_260_Mode;
        	}
        	else if((BAT_ADC >= 265000)&(BAT_ADC < 270000 )){
        		Bat_Charge_Compensation_Volt = Charge_265_Mode;
        	}
        	else if((BAT_ADC >= 270000)&(BAT_ADC < 275000 )){
        		Bat_Charge_Compensation_Volt = Charge_270_Mode;
        	}
        	else if((BAT_ADC >= 275000)&(BAT_ADC < 280000 )){
        		Bat_Charge_Compensation_Volt = Charge_275_Mode;
        	}
        	else{
        		Bat_Charge_Compensation_Volt = Charge_Off_Mode;
        	}
        }
      }
      else if(BAT_ADC >= High_Battery_val ){
        Charge_Stat = 0;
        Bat_Charge_Currunt = 0;
        BAT_State = BAT_OK;
      }
      else if(BAT_ADC < Err_Battery_val){
        Charge_Stat = 2;
        Bat_Charge_Currunt = 0;
        BAT_State = BAT_False;
      }
    }
    else{
      Charge_Stat = 0;
      Read_ADC();
      BAT_ADC = BAT_CVL_ADC;

      if(BAT_ADC < Off_Battery_val){
        HAL_GPIO_WritePin(BAT_ON_GPIO_Port, BAT_ON_Pin, GPIO_PIN_RESET);
      }
      else{
        HAL_GPIO_WritePin(BAT_ON_GPIO_Port, BAT_ON_Pin, GPIO_PIN_SET);
      }
    }

    SUB_Check(1);

    if(Charge_Stat != 1){
      Read_ADC();
      BAT_ADC = BAT_CVL_ADC;
    }
    else{
      if(Charge_Cnt == 4){
        Read_ADC();       //충전중에는 베터리 값을 갱신하지 않는다.
        Bat_Charge_Currunt = Bat_Currunt ;
        Bat_Charge_Val = BAT_CVH_ADC;
      }
      else if((Charge_Cnt >= 15) & (Charge_Cnt <40)){
      Read_ADC();
      BAT_ADC = BAT_CVL_ADC;
      }
    }
    SUB_Check(1);
}

void SW_Com(void){

	  // CRC 체크
	  uint8_t pow_st;
	  uint8_t Uart_crc = 0;

	  // 전송할 중계기 정보를 확인한다.

	  for(int i = 0; i <SUB_UART_buf_count_Save - 5 ; i++){
		  Uart_crc = Uart_crc ^ SUB_UART_RX_buf[i+2];
	  }

	  if(Uart_crc == SUB_UART_RX_buf[SUB_UART_buf_count_Save - 3]){
	    //0x51 , 'Q' ,중계기 정보 요청 (SUB에서 설정한 값만)

	    if(SUB_UART_RX_buf[4] == 0x54){        // TB board: '0x54'
	      if(SUB_UART_RX_buf[3] == 0x51){

	    	SUB_UART_TX_buf[0] = 0x53;    //S
	    	SUB_UART_TX_buf[1] = 0x54;    //T
	    	SUB_UART_TX_buf[2] = 0x54;    //T
	    	SUB_UART_TX_buf[3] = 0x52;    //R
	    	SUB_UART_TX_buf[4] = 0x01;    //address
	    	SUB_UART_TX_buf[5] = 0x0A;    //version 10 -> 1.0
	    	SUB_UART_TX_buf[6] = 0x00;    //외부 발신
	    	SUB_UART_TX_buf[7] = 0x00;    //외부 전원
	    	SUB_UART_TX_buf[8] = 0x00;    //베터리 AC 상태
	    	SUB_UART_TX_buf[9] = 0x00;    //베터리 전압
	    	SUB_UART_TX_buf[10] = 0x00;   //메인 전압
	    	SUB_UART_TX_buf[11] = 0x00;   //충전 전압
	    	SUB_UART_TX_buf[12] = 0x00;   //베터리 테스트 결과
	    	SUB_UART_TX_buf[13] = 0x00;   //dummy1
	    	SUB_UART_TX_buf[14] = 0x00;   //dummy2
	    	SUB_UART_TX_buf[15] = 0x00;   //CRC
	    	SUB_UART_TX_buf[16] = 0x45;   //E
	    	SUB_UART_TX_buf[17] = 0x44;   //D

	        Uart_crc = 0;

	        if((HANJUN_sig == 0) &(BALJUN_sig ==0)){
	          pow_st = 0;
	        }
	        else if((HANJUN_sig == 1) &(BALJUN_sig ==0)){
	          pow_st = 1;
	        }
	        else if((HANJUN_sig == 0) &(BALJUN_sig ==1)){
	          pow_st = 2;
	        }
	        else if((HANJUN_sig == 1) &(BALJUN_sig ==1)){
	          pow_st = 3;
	        }

	        SUB_UART_TX_buf[6] = Balsin_signal;
	        SUB_UART_TX_buf[7] = pow_st;    //외부 전원 1: 한전 , 2:발전
	        //Uart_tx_buf[8] = AC_FAULT;    //베터리 AC 상태
	        SUB_UART_TX_buf[8] = Pow_Mode;

	        if(((BAT_ADC / 1000) - 100)<0){
	        	SUB_UART_TX_buf[9] = 0;    //베터리 전압
	        }
	        else {
	        	SUB_UART_TX_buf[9] = (BAT_ADC / 1000) - 100;    //베터리 전압
	        }

	        if(((MAIN_ADC / 1000) - 100)<0){
	        	SUB_UART_TX_buf[10] = 0;    //베터리 전압
	        }
	        else {
	        	SUB_UART_TX_buf[10] = (MAIN_ADC / 1000) - 100;    //베터리 전압
	        }

	         if(((Bat_Charge_Val / 1000) - 100)<0){
	        	 SUB_UART_TX_buf[11] = 0;    //베터리 전압
	        }
	        else {
	        	SUB_UART_TX_buf[11] = (Bat_Charge_Val / 1000) - 100;    //베터리 전압
	        }

	        //Uart_tx_buf[10] = (MAIN_ADC / 1000) - 100;   //메인 전압
	        //Uart_tx_buf[11] = (Bat_Charge_Val / 1000) - 100;   //충전 전압
	         SUB_UART_TX_buf[12] = ((Charge_Stat << 4 )&0xF0) | (Test_status&0x0F);   //베터리 테스트 결과

	         SUB_UART_TX_buf[14] = 24 ;//dummy2   표시등 퓨즈 단선 전압값 , 벽부형만 적용 자립형은 24v고정
	        for(int i = 0; i <TB_TX_data_Length - 5 ; i++){
	          Uart_crc = Uart_crc ^ SUB_UART_TX_buf[i+2];
	        }
	        SUB_UART_TX_buf[15] = Uart_crc;

	        HAL_GPIO_WritePin(RS485_DE_GPIO_Port , RS485_DE_Pin , GPIO_PIN_SET);
	        HAL_GPIO_WritePin(RS485_RE_GPIO_Port , RS485_RE_Pin , GPIO_PIN_SET);

	        HAL_Delay(1);
	        if(HAL_UART_Transmit(&hlpuart1, SUB_UART_TX_buf, TB_TX_data_Length, 1000)!= HAL_OK)
	            {
	              Error_Handler();
	            }

	        HAL_Delay(1);

	        HAL_GPIO_WritePin(RS485_DE_GPIO_Port , RS485_DE_Pin , GPIO_PIN_RESET);
	        HAL_GPIO_WritePin(RS485_RE_GPIO_Port , RS485_RE_Pin , GPIO_PIN_RESET);

	      }
	      else if(SUB_UART_RX_buf[3] == 0x53){

	        if(SUB_UART_RX_buf[6] == 0x01){
	        	LED_Control(ERR_LED_GPIO_Port, ERR_LED_Pin , LED_On);

	            if(Bat_Test_Status == 0){
	            	Bat_Test_Status = 1;
	            	Battery_Test();
	            }

	            Bat_Test_Status = 0;
	            LED_Control(ERR_LED_GPIO_Port, ERR_LED_Pin , LED_Off);
	        }
	        else if(SUB_UART_RX_buf[6] == 0x00){
	        	Test_status = 0;
	        }

	        if(SUB_UART_RX_buf[8] == 0x01){

	          HAL_GPIO_WritePin(FIRE_ALERT_1_GPIO_Port , FIRE_ALERT_1_Pin , GPIO_PIN_SET);
	          HAL_GPIO_WritePin(FIRE_ALERT_2_GPIO_Port , FIRE_ALERT_2_Pin , GPIO_PIN_SET);
	        }
	        else if(SUB_UART_RX_buf[8] == 0x00){

	          HAL_GPIO_WritePin(FIRE_ALERT_1_GPIO_Port , FIRE_ALERT_1_Pin , GPIO_PIN_RESET);
	          HAL_GPIO_WritePin(FIRE_ALERT_2_GPIO_Port , FIRE_ALERT_2_Pin , GPIO_PIN_RESET);
	        	}
	      }
		else if(SUB_UART_RX_buf[3] == 0x56){		// Version V , 0x56
			SUB_Com_SW_V();
		}

	    }

	    if(SUB_UART_RX_buf[4] == 0x44){        // DO24 board: '0x44'
	    	if(SUB_UART_RX_buf[3] == 0x51){
	    		UI_Do24_Q();
	    	}
	    	else if(SUB_UART_RX_buf[3] == 0x53){
	    		UI_Do24_S();
	    	}

	    }
	  }

	  for(int i = 0; i <SUB_UART_buf_len ; i++){
		  SUB_UART_RX_buf[i] = 0;
	  }

	  SUB_UART_Receive_complete = 0;

}

void SUB_Check(int Wtime){
	for(int i=0 ; i< Wtime; i++){
		if(SUB_UART_Receive_complete == 1){
			HAL_Delay(1);
		  SW_Com();
		  SUB_UART_Receive_complete = 0;
	  }
	}
}

void SUB_Com_SW_V(void){

	uint8_t Uart_crc;

    SUB_UART_TX_buf[0] = 0x53;    //S
    SUB_UART_TX_buf[1] = 0x54;    //T
    SUB_UART_TX_buf[2] = 0x53;    //S
    SUB_UART_TX_buf[3] = 0x76;    //v
    SUB_UART_TX_buf[4] = 0x54;    //T
    SUB_UART_TX_buf[5] = 1;    //address
    SUB_UART_TX_buf[6] = F_Version_Year;
    SUB_UART_TX_buf[7] = F_Version_Month;
    SUB_UART_TX_buf[8] = F_Version_Day;
    SUB_UART_TX_buf[9] = F_Version_Hour;
    SUB_UART_TX_buf[10] = F_Version_Min;
    SUB_UART_TX_buf[11] = F_Version_Sec;
    SUB_UART_TX_buf[12] = 0x00;   //CRC
    SUB_UART_TX_buf[13] = 0x45;   //E
    SUB_UART_TX_buf[14] = 0x44;   //D

    for(int i = 0; i <Sub_TB_V_length - 5 ; i++){
      Uart_crc = Uart_crc ^ SUB_UART_TX_buf[i+2];
    }
    SUB_UART_TX_buf[Sub_TB_V_length-3] = Uart_crc;

    HAL_GPIO_WritePin(RS485_DE_GPIO_Port , RS485_DE_Pin , GPIO_PIN_SET);
    HAL_GPIO_WritePin(RS485_RE_GPIO_Port , RS485_RE_Pin , GPIO_PIN_SET);

    HAL_Delay(1);
    if(HAL_UART_Transmit(&hlpuart1, SUB_UART_TX_buf, Sub_TB_V_length, 1000)!= HAL_OK)
        {
          Error_Handler();
        }

    HAL_Delay(1);

    HAL_GPIO_WritePin(RS485_DE_GPIO_Port , RS485_DE_Pin , GPIO_PIN_RESET);
    HAL_GPIO_WritePin(RS485_RE_GPIO_Port , RS485_RE_Pin , GPIO_PIN_RESET);

}
/* USER CODE END 4 */

void Error_Handler(void)
{
  __disable_irq();
  while (1)
  {
  }
}
